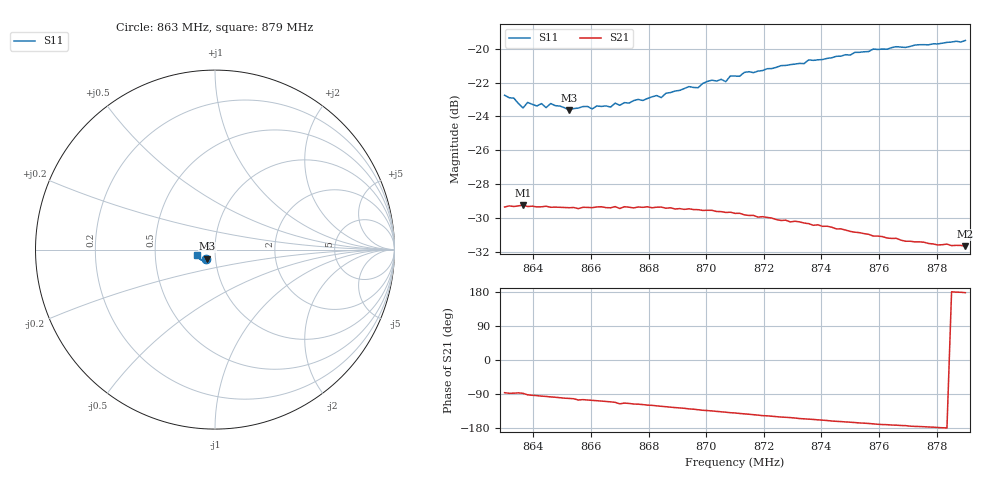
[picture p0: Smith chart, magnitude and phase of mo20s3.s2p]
# HZ S RI R 50
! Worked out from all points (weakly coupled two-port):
!   101 points, 863 MHz to 879 MHz, reference 50 ohm
!   highest |S21| = -29.23 dB at 863.64 MHz (marker M1); lowest = -31.7 dB at 879 MHz (marker M2)
!   lowest |S11| = -23.6 dB at 865.24 MHz (marker M3), VSWR 1.14, Z = 45.7 - j4.6 ohm
!   |S11| at or under -10 dB: start of sweep to end of sweep
!   S12 and S22 are empty: the file has one direction only
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8.63e8  -0.0522 -0.0509  0.00223 -0.034  0 0  0 0
8.6332e8  -0.0491 -0.052  0.00147 -0.0342  0 0  0 0
8.6364e8  -0.0441 -0.0502  0.00122 -0.0345  0 0  0 0
8.638e8  -0.0476 -0.0506  -0.00118 -0.0342  0 0  0 0
8.6412e8  -0.0458 -0.0499  -0.00234 -0.0341  0 0  0 0
8.6428e8  -0.0456 -0.0516  -0.00319 -0.034  0 0  0 0
8.6444e8  -0.0442 -0.0504  -0.00364 -0.0341  0 0  0 0
8.646e8  -0.0451 -0.0521  -0.00438 -0.0338  0 0  0 0
8.6524e8  -0.0427 -0.0502  -0.00671 -0.0333  0 0  0 0
8.6572e8  -0.0416 -0.0532  -0.00855 -0.033  0 0  0 0
8.6668e8  -0.0398 -0.0542  -0.0119 -0.0318  0 0  0 0
8.6684e8  -0.0412 -0.0554  -0.0127 -0.0318  0 0  0 0
8.6844e8  -0.042 -0.0581  -0.0182 -0.0289  0 0  0 0
8.686e8  -0.0426 -0.0603  -0.0186 -0.0283  0 0  0 0
8.6972e8  -0.0456 -0.0617  -0.0221 -0.0252  0 0  0 0
8.702e8  -0.0494 -0.0639  -0.0233 -0.0238  0 0  0 0
8.7068e8  -0.0497 -0.0626  -0.0243 -0.0221  0 0  0 0
8.7084e8  -0.0532 -0.0639  -0.0249 -0.0216  0 0  0 0
8.71e8  -0.0529 -0.064  -0.025 -0.0211  0 0  0 0
8.7372e8  -0.0681 -0.0624  -0.0277 -0.0119  0 0  0 0
8.7644e8  -0.0876 -0.0497  -0.0273 -0.00401  0 0  0 0
8.79e8  -0.1015 -0.0295  -0.0261 0.00106  0 0  0 0
